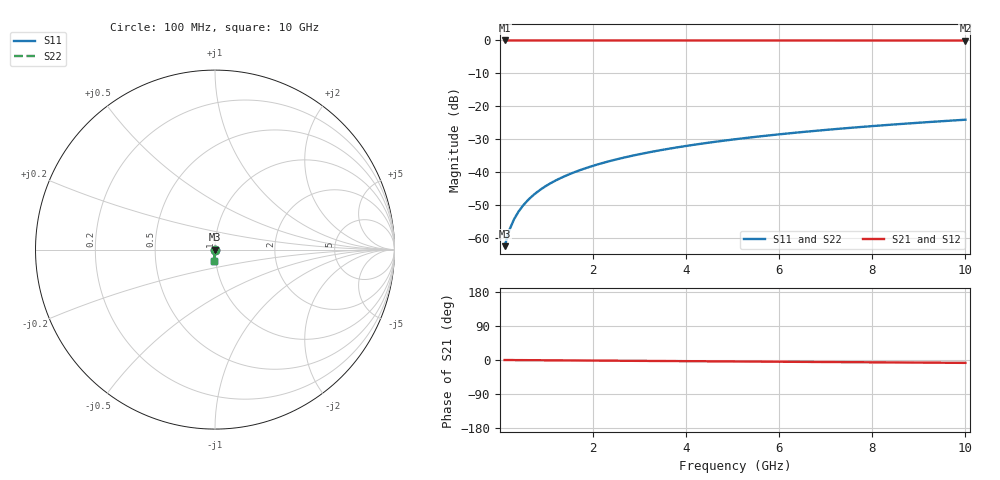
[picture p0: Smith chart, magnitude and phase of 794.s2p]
# Hz S RI R 50.00
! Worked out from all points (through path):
!   100 points, 100 MHz to 10 GHz, reference 50 ohm
!   highest |S21| = 0.00 dB at 100 MHz (marker M1); lowest = 0.0 dB at 10 GHz (marker M2)
!   group delay of S21, straight-line fit = 2.11 ps
!   lowest |S11| = -62.3 dB at 100 MHz (marker M3), VSWR 1.00, Z = 50 - j0.0631 ohm
!   |S11| at or under -10 dB: start of sweep to end of sweep
!   |S22| runs from -62.3 to -24.0 dB; largest |S21 - S12| = 0
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1e8  0.000432 -0.000631  0.9996 -0.00132  0.9996 -0.00132  0.000432 -0.000631
2e8  0.000432 -0.00126  0.9996 -0.00265  0.9996 -0.00265  0.000432 -0.00126
3e8  0.000429 -0.00189  0.9995 -0.00397  0.9995 -0.00397  0.000429 -0.00189
4e8  0.000424 -0.00252  0.9995 -0.0053  0.9995 -0.0053  0.000424 -0.00252
5e8  0.000417 -0.00315  0.9995 -0.00662  0.9995 -0.00662  0.000417 -0.00315
6e8  0.000408 -0.00378  0.9995 -0.00795  0.9995 -0.00795  0.000408 -0.00378
7e8  0.000397 -0.00441  0.9995 -0.00927  0.9995 -0.00927  0.000397 -0.00441
8e8  0.000385 -0.00504  0.9995 -0.0106  0.9995 -0.0106  0.000385 -0.00504
9e8  0.000371 -0.00568  0.9995 -0.0119  0.9995 -0.0119  0.000371 -0.00568
1.1e9  0.000338 -0.00694  0.9994 -0.0146  0.9994 -0.0146  0.000338 -0.00694
1.4e9  0.000275 -0.00883  0.9993 -0.0185  0.9993 -0.0185  0.000275 -0.00883
1.8e9  0.000167 -0.0113  0.9992 -0.0238  0.9992 -0.0238  0.000167 -0.0113
2.1e9  6.87e-05 -0.0132  0.999 -0.0278  0.999 -0.0278  6.87e-05 -0.0132
2.5e9  -8.61e-05 -0.0158  0.9988 -0.0331  0.9988 -0.0331  -8.61e-05 -0.0158
2.9e9  -0.000268 -0.0183  0.9986 -0.0384  0.9986 -0.0384  -0.000268 -0.0183
3.4e9  -0.000533 -0.0214  0.9983 -0.045  0.9983 -0.045  -0.000533 -0.0214
4.2e9  -0.00104 -0.0265  0.9976 -0.0556  0.9976 -0.0556  -0.00104 -0.0265
5.1e9  -0.00175 -0.0321  0.9967 -0.0675  0.9967 -0.0675  -0.00175 -0.0321
5.9e9  -0.00248 -0.0371  0.9957 -0.0781  0.9957 -0.0781  -0.00248 -0.0371
6.7e9  -0.00333 -0.0421  0.9946 -0.0886  0.9946 -0.0886  -0.00333 -0.0421
8.4e9  -0.00547 -0.0526  0.9918 -0.111  0.9918 -0.111  -0.00547 -0.0526
1e10  -0.00792 -0.0625  0.9886 -0.132  0.9886 -0.132  -0.00792 -0.0625
